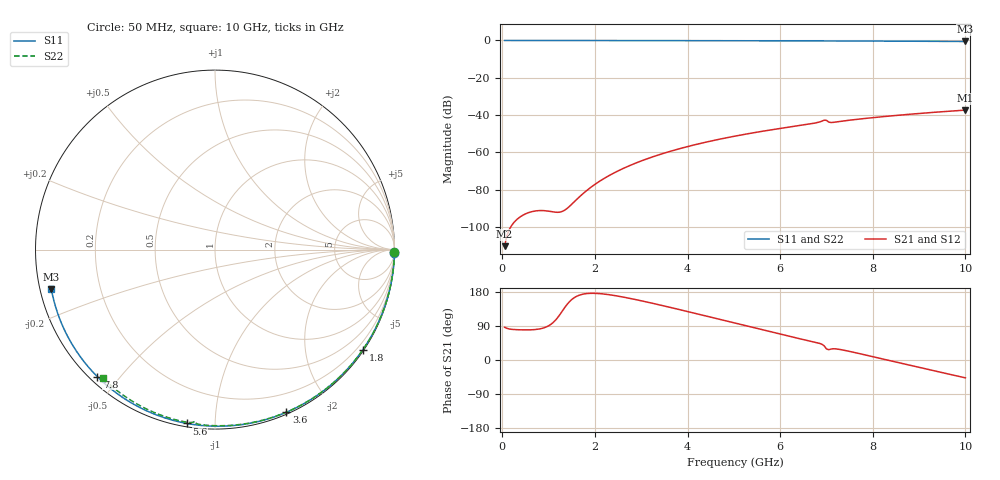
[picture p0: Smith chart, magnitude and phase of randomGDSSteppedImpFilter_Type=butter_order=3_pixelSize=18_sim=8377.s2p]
! freq	dB(S11)	phase(S11)	dB(S12)	phase(S12)
!  dB(S21)	phase(S21)	dB(S22)	phase(S22)
!S-par simulation data
#  GHz  S  DB  R 50
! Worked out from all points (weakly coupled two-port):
!   200 points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, 50 MHz to 10 GHz, reference 50 ohm
!   highest |S21| = -37.36 dB at 10 GHz (marker M1); lowest = -110.3 dB at 50 MHz (marker M2)
!   lowest |S11| = -0.6 dB at 10 GHz (marker M3), VSWR 31.35, Z = 1.62 - j5.99 ohm
!   |S11| at or under -10 dB: nowhere
!   |S22| runs from -0.4 to 0.0 dB; largest |S21 - S12| = 0
!   S11 on the Smith chart (normalised r, x): 50 MHz: open; 1.8 GHz: 0.03, -3.26; 3.6 GHz: 0.02, -1.53; 5.6 GHz: 0.02, -0.85; 7.8 GHz: 0.02, -0.44; 10 GHz: 0.03, -0.12
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0.05  -0.00 -1.0  -110.35 86.3  -110.35 86.3  -0.00 -0.8
0.85  -0.02 -16.3  -91.24 83.2  -91.24 83.2  -0.02 -12.8
1.75  -0.04 -33.2  -82.02 173.9  -82.02 173.9  -0.03 -26.2
1.8  -0.04 -34.1  -80.96 175.0  -80.96 175.0  -0.03 -26.9
1.85  -0.04 -35.0  -79.96 175.6  -79.96 175.6  -0.04 -27.6
2.15  -0.05 -40.5  -74.74 174.7  -74.74 174.7  -0.04 -32.0
2.55  -0.06 -47.8  -69.37 167.4  -69.37 167.4  -0.05 -37.8
2.95  -0.07 -54.9  -65.11 157.6  -65.11 157.6  -0.06 -43.5
3.4  -0.08 -62.8  -61.19 145.3  -61.19 145.3  -0.07 -49.8
3.6  -0.09 -66.3  -59.66 139.6  -59.66 139.6  -0.07 -52.6
4.3  -0.11 -78.1  -55.10 119.0  -55.10 119.0  -0.09 -62.2
5.05  -0.14 -90.4  -51.19 96.6  -51.19 96.6  -0.11 -72.1
5.6  -0.16 -99.2  -48.78 80.3  -48.78 80.3  -0.13 -79.3
6.7  -0.23 -116.2  -44.55 48.3  -44.55 48.3  -0.18 -93.1
6.95  -0.24 -120.0  -42.77 37.5  -42.77 37.5  -0.26 -96.6
7  -0.25 -120.8  -42.85 29.2  -42.85 29.2  -0.33 -96.8
7.05  -0.25 -121.6  -43.80 27.1  -43.80 27.1  -0.30 -96.9
7.1  -0.26 -122.3  -44.01 28.9  -44.01 28.9  -0.26 -97.5
7.8  -0.31 -132.9  -41.92 14.4  -41.92 14.4  -0.25 -106.0
8.35  -0.36 -141.1  -40.57 -1.1  -40.57 -1.1  -0.29 -112.5
9.2  -0.45 -154.0  -38.78 -25.0  -38.78 -25.0  -0.36 -122.2
10  -0.55 -166.3  -37.36 -47.1  -37.36 -47.1  -0.45 -131.3
